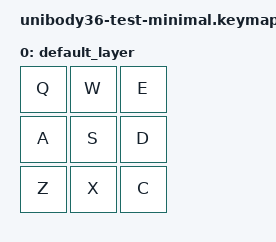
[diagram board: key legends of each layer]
/*
 * Minimal 3x3 test keymap
 * Just 9 keys with basic letters
 */

#include <behaviors.dtsi>
#include <dt-bindings/zmk/keys.h>
#include <dt-bindings/zmk/bt.h>

/ {
    keymap {
        compatible = "zmk,keymap";

        default_layer {
            bindings = <
                &kp Q  &kp W  &kp E
                &kp A  &kp S  &kp D
                &kp Z  &kp X  &kp C
            >;
        };
    };
};
